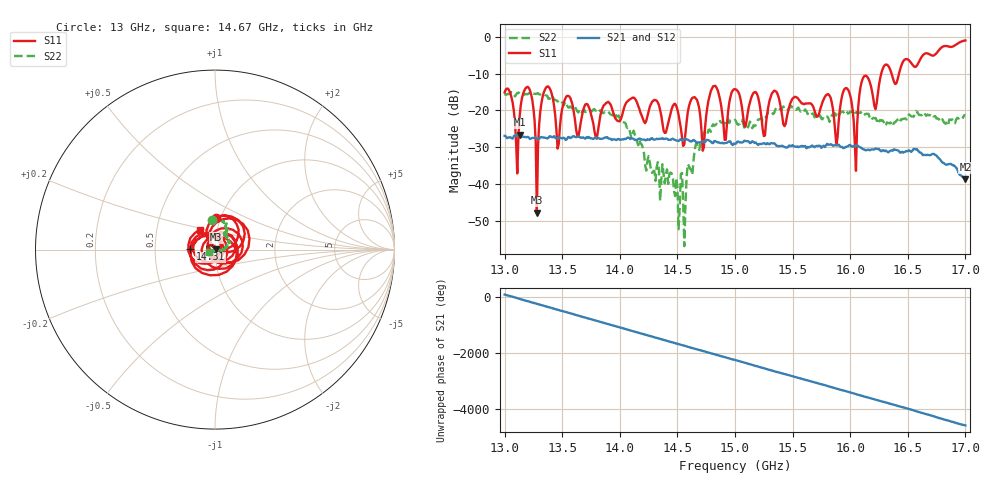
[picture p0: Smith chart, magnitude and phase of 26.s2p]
!Keysight Technologies,P9374A,MY57211807,A.19.30.04
!Date: Friday, May 01, 2026 14:49:22
!Correction: S11(C  2-Port  )
!S21(C  2-Port  )
!S12(C  2-Port  )
!S22(C  2-Port  )
!S2P File: Measurements: S11, S21, S12, S22:
# Hz S  RI  R 50
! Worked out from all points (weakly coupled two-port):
!   401 points, 13 GHz to 17 GHz, reference 50 ohm
!   highest |S21| = -26.63 dB at 13.13 GHz (marker M1); lowest = -38.7 dB at 17 GHz (marker M2)
!   lowest |S11| = -47.8 dB at 13.28 GHz (marker M3), VSWR 1.01, Z = 50.4 + j0.109 ohm
!   |S11| at or under -10 dB: start of sweep to 16.27 GHz; 16.35915 GHz to 16.42381 GHz (64.66 MHz wide, 0.395 % of centre)
!   |S22| runs from -56.9 to -14.9 dB; largest |S21 - S12| = 0.0019
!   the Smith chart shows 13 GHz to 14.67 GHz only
!   S11 on the Smith chart (normalised r, x): 13 GHz: 0.95, +0.34; 14.31 GHz: 0.76, +0.00; 14.67 GHz: 0.82, +0.18
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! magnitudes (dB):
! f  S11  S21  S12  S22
! 13 GHz  -15.1  -26.9  -26.9  -15.5
! 13.13 GHz  -21.8  -26.6  -26.6  -14.9
! 13.21 GHz  -13.9  -27.4  -27.3  -15.3
! 13.28 GHz  -47.8  -27.6  -27.7  -15.4
! 13.37 GHz  -13.5  -27.6  -27.6  -16.0
! 13.46 GHz  -30.4  -27.5  -27.5  -17.6
! 13.67 GHz  -21.7  -27.4  -27.3  -20.5
! 14.31 GHz  -17.2  -27.9  -27.8  -39.2
! 14.34 GHz  -18.6  -27.7  -27.7  -36.3
! 14.56 GHz  -29.2  -27.8  -27.8  -56.9
! 14.67 GHz  -17.1  -28.8  -28.8  -29.0
! 14.83 GHz  -13.3  -28.3  -28.3  -23.9
! 14.91 GHz  -28.0  -28.9  -28.8  -23.5
! 15 GHz  -14.2  -29.1  -29.0  -22.6
! 15.25 GHz  -27.0  -28.9  -28.8  -22.0
! 15.67 GHz  -18.5  -29.5  -29.6  -20.9
! 15.88 GHz  -29.5  -29.5  -29.5  -21.7
! 15.97 GHz  -13.9  -29.8  -29.9  -20.3
! 16.05 GHz  -36.4  -29.6  -29.6  -20.6
! 16.11 GHz  -11.3  -30.5  -30.5  -21.4
! 16.34 GHz  -8.4  -31.1  -31.2  -23.5
! 17 GHz  -0.9  -38.7  -38.6  -21.3
